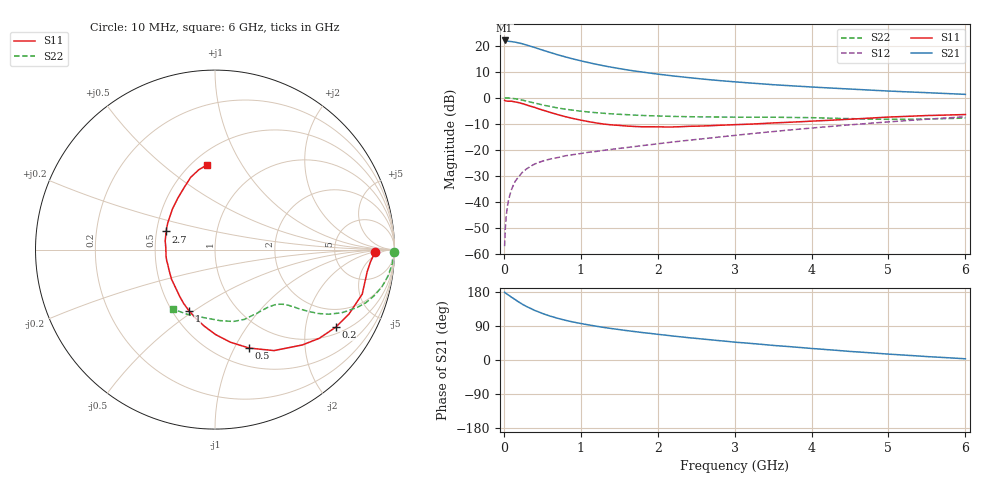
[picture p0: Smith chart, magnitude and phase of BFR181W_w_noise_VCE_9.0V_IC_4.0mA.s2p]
! Infineon Technologies  Discrete & RF Semiconductors
! BFR181W
! VCE =  9.0 V,  IC =  4.0 mA
! Common Emitter S-Parameters:  Jan 2017
# GHz  S  MA  R  50
!  f  S11  S21  S12  S22
! GHz  MAG  ANG  MAG  ANG  MAG  ANG  MAG  ANG
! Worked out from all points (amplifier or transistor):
!   77 points, 10 MHz to 6 GHz, reference 50 ohm
!   highest |S21| = 22.0 dB at 10 MHz (marker M1)
!   |S21| within 3 dB of that: start of sweep to 431 MHz
!   unconditionally stable (mu >= 1): 1.51 GHz to 3.525 GHz
!   at 130 MHz: K = 0.13, MSG = 27.3 dB, |S12| = -33.2 dB
!   at 2.2 GHz: K = 1.08, MAG = 10.9 dB, |S12| = -17.0 dB
!   at 6 GHz: K = 0.85, MSG = 4.3 dB, |S12| = -7.3 dB
!   lowest NFmin = 0.92 dB at 450 MHz
!   S11 on the Smith chart (normalised r, x): 10 MHz: 17, -2; 200 MHz: 1.22, -2.93; 500 MHz: 0.69, -1.15; 1 GHz: 0.60, -0.48; 2.7 GHz: 0.56, +0.12; 6 GHz: 0.59, +0.72
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0.01  0.8914 -0.9  12.58 178.9  0.0014 76.8  0.9987 -0.8
0.02  0.8685 -4.6  12.34 176.7  0.0032 87.1  0.9884 -1.5
0.03  0.8642 -5.8  12.3 175.4  0.0051 86.2  0.9893 -2.4
0.06  0.8553 -10.0  12.17 171.4  0.0105 84.6  0.9882 -5.1
0.15  0.8285 -25.6  11.66 159.0  0.025 76.7  0.9527 -12.6
0.2  0.7993 -32.8  11.21 152.2  0.0311 73.2  0.9228 -16.2
0.25  0.7622 -40.5  10.77 146.1  0.0381 68.2  0.8911 -19.4
0.3  0.7205 -47.5  10.23 140.6  0.0432 65.6  0.8545 -22.2
0.4  0.6517 -59.7  9.229 130.9  0.053 61.1  0.7889 -26.5
0.5  0.5804 -70.9  8.241 122.9  0.0602 57.9  0.7286 -29.6
0.6  0.5229 -80.6  7.412 116.0  0.066 55.6  0.6778 -31.7
0.7  0.4729 -89.7  6.677 110.0  0.0706 54.9  0.6354 -33.1
0.8  0.4311 -97.9  6.079 104.8  0.0764 54.4  0.6013 -34.2
1  0.3702 -113.1  5.111 96.3  0.0844 53.6  0.5497 -35.8
1.1  0.3468 -120.3  4.727 92.7  0.0892 54.1  0.5314 -36.5
1.5  0.2933 -145.6  3.63 80.3  0.1061 55.7  0.4792 -39.4
2.1  0.2737 -176.9  2.725 65.6  0.1353 58.4  0.4408 -46.0
2.7  0.29 159.6  2.199 53.1  0.1691 59.5  0.4258 -55.0
3.1  0.3062 147.3  1.966 45.6  0.1951 59.0  0.4215 -61.0
4.1  0.3595 123.8  1.575 29.0  0.2685 55.7  0.4089 -77.7
5.1  0.4296 107.2  1.322 14.3  0.3508 48.8  0.3838 -101.8
6  0.4746 95.1  1.158 3.2  0.4293 41.0  0.4065 -125.6
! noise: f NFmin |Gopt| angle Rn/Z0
0.45  0.92  0.39  16  0.24
0.9  0.97  0.36  31  0.24
1.9  1.4  0.2  79  0.2
2.4  1.56  0.17  94  0.22
